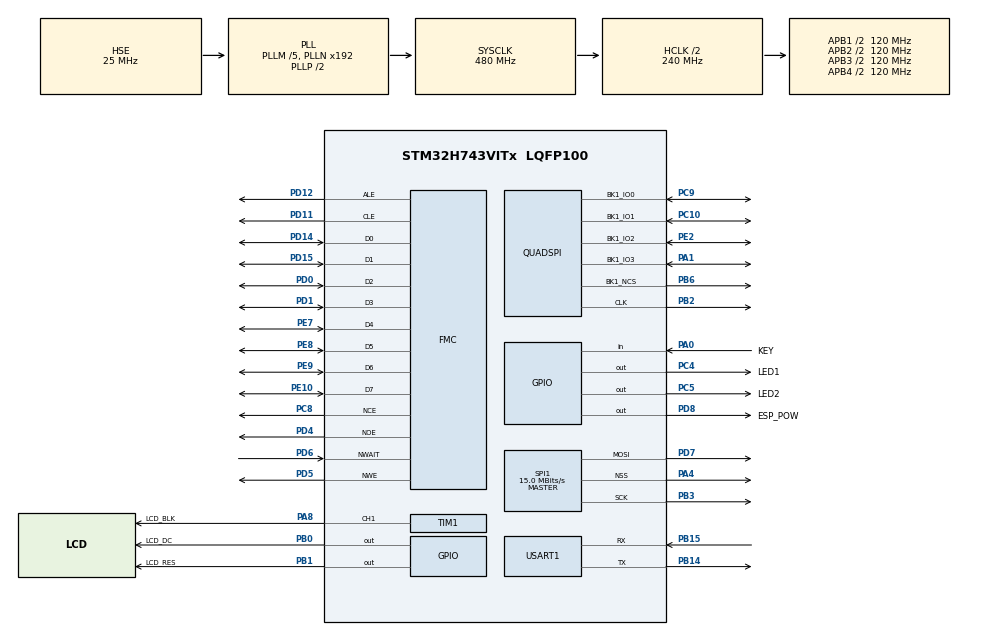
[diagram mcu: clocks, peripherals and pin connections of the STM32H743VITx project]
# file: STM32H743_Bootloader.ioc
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CRC.DefaultInitValueUse=DEFAULT_INIT_VALUE_ENABLE
CRC.DefaultPolynomialUse=DEFAULT_POLYNOMIAL_ENABLE
CRC.InputDataFormat=CRC_INPUTDATA_FORMAT_WORDS
CRC.InputDataInversionMode=CRC_INPUTDATA_INVERSION_NONE
CRC.OutputDataInversionMode=CRC_OUTPUTDATA_INVERSION_DISABLE
Dma.Request0=SPI1_TX
Dma.Request1=USART1_RX
Dma.Request2=USART1_TX
Dma.SPI1_TX.0.Direction=DMA_MEMORY_TO_PERIPH
Dma.SPI1_TX.0.EventEnable=DISABLE
Dma.SPI1_TX.0.FIFOMode=DMA_FIFOMODE_DISABLE
Dma.SPI1_TX.0.Instance=DMA1_Stream0
Dma.SPI1_TX.0.MemDataAlignment=DMA_MDATAALIGN_BYTE
Dma.SPI1_TX.0.MemInc=DMA_MINC_ENABLE
Dma.SPI1_TX.0.Mode=DMA_NORMAL
Dma.SPI1_TX.0.PeriphDataAlignment=DMA_PDATAALIGN_BYTE
Dma.SPI1_TX.0.PeriphInc=DMA_PINC_DISABLE
Dma.SPI1_TX.0.Polarity=HAL_DMAMUX_REQ_GEN_RISING
Dma.SPI1_TX.0.Priority=DMA_PRIORITY_VERY_HIGH
Dma.SPI1_TX.0.RequestNumber=1
Dma.SPI1_TX.0.SignalID=NONE
Dma.SPI1_TX.0.SyncEnable=DISABLE
Dma.SPI1_TX.0.SyncPolarity=HAL_DMAMUX_SYNC_NO_EVENT
Dma.SPI1_TX.0.SyncRequestNumber=1
Dma.SPI1_TX.0.SyncSignalID=NONE
Dma.USART1_RX.1.Direction=DMA_PERIPH_TO_MEMORY
Dma.USART1_RX.1.EventEnable=DISABLE
Dma.USART1_RX.1.FIFOMode=DMA_FIFOMODE_DISABLE
Dma.USART1_RX.1.Instance=DMA1_Stream1
Dma.USART1_RX.1.MemDataAlignment=DMA_MDATAALIGN_BYTE
Dma.USART1_RX.1.MemInc=DMA_MINC_ENABLE
Dma.USART1_RX.1.Mode=DMA_CIRCULAR
Dma.USART1_RX.1.PeriphDataAlignment=DMA_PDATAALIGN_BYTE
Dma.USART1_RX.1.PeriphInc=DMA_PINC_DISABLE
Dma.USART1_RX.1.Polarity=HAL_DMAMUX_REQ_GEN_RISING
Dma.USART1_RX.1.Priority=DMA_PRIORITY_VERY_HIGH
Dma.USART1_RX.1.RequestNumber=1
Dma.USART1_RX.1.SignalID=NONE
Dma.USART1_RX.1.SyncEnable=DISABLE
Dma.USART1_RX.1.SyncPolarity=HAL_DMAMUX_SYNC_NO_EVENT
Dma.USART1_RX.1.SyncRequestNumber=1
Dma.USART1_RX.1.SyncSignalID=NONE
Dma.USART1_TX.2.Direction=DMA_MEMORY_TO_PERIPH
Dma.USART1_TX.2.EventEnable=DISABLE
Dma.USART1_TX.2.FIFOMode=DMA_FIFOMODE_DISABLE
Dma.USART1_TX.2.Instance=DMA1_Stream2
Dma.USART1_TX.2.MemDataAlignment=DMA_MDATAALIGN_BYTE
Dma.USART1_TX.2.MemInc=DMA_MINC_ENABLE
Dma.USART1_TX.2.Mode=DMA_NORMAL
Dma.USART1_TX.2.PeriphDataAlignment=DMA_PDATAALIGN_BYTE
Dma.USART1_TX.2.PeriphInc=DMA_PINC_DISABLE
Dma.USART1_TX.2.Polarity=HAL_DMAMUX_REQ_GEN_RISING
Dma.USART1_TX.2.Priority=DMA_PRIORITY_VERY_HIGH
Dma.USART1_TX.2.RequestNumber=1
Dma.USART1_TX.2.SignalID=NONE
Dma.USART1_TX.2.SyncEnable=DISABLE
Dma.USART1_TX.2.SyncPolarity=HAL_DMAMUX_SYNC_NO_EVENT
Dma.USART1_TX.2.SyncRequestNumber=1
Dma.USART1_TX.2.SyncSignalID=NONE
FMC.AttributeSpaceHiZSetupTime1=2
FMC.AttributeSpaceHoldSetupTime1=3
FMC.AttributeSpaceSetupTime1=2
FMC.AttributeSpaceWaitSetupTime1=4
FMC.CommonSpaceHiZSetupTime1=2
FMC.CommonSpaceHoldSetupTime1=3
FMC.CommonSpaceSetupTime1=2
FMC.CommonSpaceWaitSetupTime1=4
FMC.ECCPageSize1=FMC_NAND_ECC_PAGE_SIZE_2048BYTE
FMC.NandBlockNbr1=2048
FMC.NandBlockSize1=2048*64
FMC.NandPageSize1=2048+64
FMC.NandPlaneNbr1=2
FMC.NandPlaneSize1=4096
FMC.NandSpareAreaSize1=64
Mcu.Family=STM32H7
Mcu.Name=STM32H743VITx
Mcu.Package=LQFP100
Mdma.MDMA_Channel1.QUADSPI_FIFO_TH.0.BlockCount=0
Mdma.MDMA_Channel1.QUADSPI_FIFO_TH.0.BlockDataLength=0
Mdma.MDMA_Channel1.QUADSPI_FIFO_TH.0.BufferTransferLength=128
Mdma.MDMA_Channel1.QUADSPI_FIFO_TH.0.CircularMode=MDMA_LINEAR_LIST
Mdma.MDMA_Channel1.QUADSPI_FIFO_TH.0.DataAlignment=MDMA_DATAALIGN_PACKENABLE
Mdma.MDMA_Channel1.QUADSPI_FIFO_TH.0.DestBlockAddressOffset=0
Mdma.MDMA_Channel1.QUADSPI_FIFO_TH.0.DestBurst=MDMA_DEST_BURST_SINGLE
Mdma.MDMA_Channel1.QUADSPI_FIFO_TH.0.DestDataSize=MDMA_DEST_DATASIZE_BYTE
Mdma.MDMA_Channel1.QUADSPI_FIFO_TH.0.DestinationInc=MDMA_DEST_INC_DISABLE
Mdma.MDMA_Channel1.QUADSPI_FIFO_TH.0.DstAddress=0
Mdma.MDMA_Channel1.QUADSPI_FIFO_TH.0.Endianness=MDMA_LITTLE_ENDIANNESS_PRESERVE
Mdma.MDMA_Channel1.QUADSPI_FIFO_TH.0.Instance=MDMA_Channel1
Mdma.MDMA_Channel1.QUADSPI_FIFO_TH.0.MaskAddress=0
Mdma.MDMA_Channel1.QUADSPI_FIFO_TH.0.MaskData=0
Mdma.MDMA_Channel1.QUADSPI_FIFO_TH.0.Priority=MDMA_PRIORITY_VERY_HIGH
Mdma.MDMA_Channel1.QUADSPI_FIFO_TH.0.Rank=First
Mdma.MDMA_Channel1.QUADSPI_FIFO_TH.0.SourceBlockAddressOffset=0
Mdma.MDMA_Channel1.QUADSPI_FIFO_TH.0.SourceBurst=MDMA_SOURCE_BURST_SINGLE
Mdma.MDMA_Channel1.QUADSPI_FIFO_TH.0.SourceDataSize=MDMA_SRC_DATASIZE_BYTE
Mdma.MDMA_Channel1.QUADSPI_FIFO_TH.0.SourceInc=MDMA_SRC_INC_BYTE
Mdma.MDMA_Channel1.QUADSPI_FIFO_TH.0.SrcAddress=0
Mdma.MDMA_Channel1.QUADSPI_FIFO_TH.0.TransferTriggerMode=MDMA_BUFFER_TRANSFER
Mdma.MDMA_Channel1.Request0=QUADSPI_FIFO_TH
Mdma.MDMA_Channel1.RequestsNb=1
Mdma.RequestSet0=MDMA_Channel1
Mdma.RequestSetsNb=1
NVIC.DMA1_Stream0_IRQn=true\:1\:0\:true\:false\:true\:false\:true\:true
NVIC.DMA1_Stream1_IRQn=true\:0\:0\:false\:false\:true\:false\:true\:true
NVIC.DMA1_Stream2_IRQn=true\:0\:0\:false\:false\:true\:false\:true\:true
NVIC.MDMA_IRQn=true\:0\:0\:false\:false\:true\:false\:true\:true
NVIC.PriorityGroup=NVIC_PRIORITYGROUP_4
NVIC.QUADSPI_IRQn=true\:0\:0\:true\:false\:true\:true\:true\:true
NVIC.SPI1_IRQn=true\:0\:0\:true\:false\:true\:true\:true\:true
NVIC.TIM8_BRK_TIM12_IRQn=true\:0\:0\:false\:false\:true\:true\:true\:true
NVIC.TIM8_TRG_COM_TIM14_IRQn=true\:5\:0\:true\:false\:true\:true\:true\:true
NVIC.TIM8_UP_TIM13_IRQn=true\:0\:0\:false\:false\:true\:true\:true\:true
NVIC.USART1_IRQn=true\:0\:0\:false\:false\:true\:true\:true\:true
PA0.GPIO_Label=KEY
PA0.GPIO_PuPd=GPIO_PULLDOWN
PA0.Signal=GPIO_Input
PA1.GPIO_Speed=GPIO_SPEED_FREQ_VERY_HIGH
PA1.Mode=Single Bank 1
PA1.Signal=QUADSPI_BK1_IO3
PA13\ (JTMS/SWDIO).Mode=Serial_Wire
PA13\ (JTMS/SWDIO).Signal=DEBUG_JTMS-SWDIO
PA14\ (JTCK/SWCLK).Mode=Serial_Wire
PA14\ (JTCK/SWCLK).Signal=DEBUG_JTCK-SWCLK
PA4.GPIO_Speed=GPIO_SPEED_FREQ_VERY_HIGH
PA4.Mode=NSS_Signal_Hard_Output
PA4.Signal=SPI1_NSS
PA8.GPIO_Label=LCD_BLK
PA8.Signal=S_TIM1_CH1
PB0.GPIO_Label=LCD_DC
PB0.GPIO_Speed=GPIO_SPEED_FREQ_VERY_HIGH
PB0.Signal=GPIO_Output
PB1.GPIO_Label=LCD_RES
PB1.GPIO_Speed=GPIO_SPEED_FREQ_VERY_HIGH
PB1.Signal=GPIO_Output
PB14.Mode=Asynchronous
PB14.Signal=USART1_TX
PB15.GPIO_PuPd=GPIO_PULLUP
PB15.Mode=Asynchronous
PB15.Signal=USART1_RX
PB2.GPIO_Speed=GPIO_SPEED_FREQ_VERY_HIGH
PB2.Mode=Single Bank 1
PB2.Signal=QUADSPI_CLK
PB3\ (JTDO/TRACESWO).GPIO_Speed=GPIO_SPEED_FREQ_VERY_HIGH
PB3\ (JTDO/TRACESWO).Mode=TX_Only_Simplex_Unidirect_Master
PB3\ (JTDO/TRACESWO).Signal=SPI1_SCK
PB6.GPIO_Speed=GPIO_SPEED_FREQ_VERY_HIGH
PB6.Mode=Single Bank 1
PB6.Signal=QUADSPI_BK1_NCS
PC10.GPIO_Speed=GPIO_SPEED_FREQ_VERY_HIGH
PC10.Mode=Single Bank 1
PC10.Signal=QUADSPI_BK1_IO1
PC14-OSC32_IN\ (OSC32_IN).Mode=LSE-External-Oscillator
PC14-OSC32_IN\ (OSC32_IN).Signal=RCC_OSC32_IN
PC15-OSC32_OUT\ (OSC32_OUT).Mode=LSE-External-Oscillator
PC15-OSC32_OUT\ (OSC32_OUT).Signal=RCC_OSC32_OUT
PC4.GPIO_Label=LED1
PC4.GPIO_PuPd=GPIO_PULLUP
PC4.PinState=GPIO_PIN_SET
PC4.Signal=GPIO_Output
PC5.GPIO_Label=LED2
PC5.GPIO_PuPd=GPIO_PULLUP
PC5.PinState=GPIO_PIN_SET
PC5.Signal=GPIO_Output
PC8.Mode=NandChipSelect3_1
PC8.Signal=FMC_NCE
PC9.GPIO_PuPd=GPIO_NOPULL
PC9.GPIO_Speed=GPIO_SPEED_FREQ_VERY_HIGH
PC9.Mode=Single Bank 1
PC9.Signal=QUADSPI_BK1_IO0
PD0.Signal=FMC_D2_DA2
PD1.Signal=FMC_D3_DA3
PD11.Signal=FMC_A16_CLE
PD12.Signal=FMC_A17_ALE
PD14.Signal=FMC_D0_DA0
PD15.Signal=FMC_D1_DA1
PD4.Signal=FMC_NOE
PD5.Signal=FMC_NWE
PD6.GPIO_PuPd=GPIO_PULLUP
PD6.Signal=FMC_NWAIT
PD7.GPIO_Speed=GPIO_SPEED_FREQ_VERY_HIGH
PD7.Mode=TX_Only_Simplex_Unidirect_Master
PD7.Signal=SPI1_MOSI
PD8.GPIO_Label=ESP_POW
PD8.GPIO_PuPd=GPIO_PULLDOWN
PD8.Signal=GPIO_Output
PE10.Signal=FMC_D7_DA7
PE2.GPIO_Speed=GPIO_SPEED_FREQ_VERY_HIGH
PE2.Mode=Single Bank 1
PE2.Signal=QUADSPI_BK1_IO2
PE7.Signal=FMC_D4_DA4
PE8.Signal=FMC_D5_DA5
PE9.Signal=FMC_D6_DA6
PH0-OSC_IN\ (PH0).Mode=HSE-External-Oscillator
PH0-OSC_IN\ (PH0).Signal=RCC_OSC_IN
PH1-OSC_OUT\ (PH1).Mode=HSE-External-Oscillator
PH1-OSC_OUT\ (PH1).Signal=RCC_OSC_OUT
ProjectManager.HeapSize=0x200
ProjectManager.StackSize=0x800
ProjectManager.TargetToolchain=MDK-ARM V5.32
QUADSPI.ChipSelectHighTime=QSPI_CS_HIGH_TIME_2_CYCLE
QUADSPI.ClockPrescaler=2-1
QUADSPI.FifoThreshold=32
QUADSPI.FlashSize=23+1
QUADSPI.SampleShifting=QSPI_SAMPLE_SHIFTING_HALFCYCLE
RCC.ADCFreq_Value=120000000
RCC.APB1Freq_Value=120000000
RCC.APB2Freq_Value=120000000
RCC.APB3Freq_Value=120000000
RCC.APB4Freq_Value=120000000
RCC.CortexFreq_Value=480000000
RCC.D1PPRE=RCC_APB3_DIV2
RCC.D2PPRE1=RCC_APB1_DIV2
RCC.D2PPRE2=RCC_APB2_DIV2
RCC.D3PPRE=RCC_APB4_DIV2
RCC.DIVM1=5
RCC.DIVM2=5
RCC.DIVM3=25
RCC.DIVN1=192
RCC.DIVN2=48
RCC.DIVN3=240
RCC.DIVQ1=5
RCC.DIVQ3=5
RCC.DIVR1=5
RCC.HCLKFreq_Value=240000000
RCC.HPRE=RCC_HCLK_DIV2
RCC.PLL2FRACN=0
RCC.PLL3FRACN=0
RCC.PLLFRACN=0
RCC.PLLSourceVirtual=RCC_PLLSOURCE_HSE
RCC.QSPICLockSelection=RCC_QSPICLKSOURCE_PLL
RCC.SPI123CLockSelection=RCC_SPI123CLKSOURCE_PLL2
RCC.SYSCLKFreq_VALUE=480000000
RCC.SYSCLKSource=RCC_SYSCLKSOURCE_PLLCLK
RCC.USBCLockSelection=RCC_USBCLKSOURCE_PLL3
RCC.USBFreq_Value=48000000
SH.FMC_A16_CLE.0=FMC_CLE,8b-dmux1
SH.FMC_A17_ALE.0=FMC_ALE,8b-dmux1
SH.FMC_D0_DA0.0=FMC_D0,8b-dmux1
SH.FMC_D1_DA1.0=FMC_D1,8b-dmux1
SH.FMC_D2_DA2.0=FMC_D2,8b-dmux1
SH.FMC_D3_DA3.0=FMC_D3,8b-dmux1
SH.FMC_D4_DA4.0=FMC_D4,8b-dmux1
SH.FMC_D5_DA5.0=FMC_D5,8b-dmux1
SH.FMC_D6_DA6.0=FMC_D6,8b-dmux1
SH.FMC_D7_DA7.0=FMC_D7,8b-dmux1
SH.FMC_NOE.0=FMC_NOE,8b-dmux1
SH.FMC_NWAIT.0=FMC_NWAIT,Wait1
SH.FMC_NWE.0=FMC_NWE,8b-dmux1
SH.S_TIM1_CH1.0=TIM1_CH1,PWM Generation1 CH1
SPI1.BaudRatePrescaler=SPI_BAUDRATEPRESCALER_8
SPI1.CalculateBaudRate=15.0 MBits/s
SPI1.DataSize=SPI_DATASIZE_8BIT
SPI1.Direction=SPI_DIRECTION_2LINES_TXONLY
SPI1.Mode=SPI_MODE_MASTER
SPI1.VirtualNSS=VM_NSSHARD
SPI1.VirtualType=VM_MASTER
TIM1.Channel-PWM\ Generation1\ CH1=TIM_CHANNEL_1
TIM1.Period=1000-1
TIM1.Prescaler=24-1
TIM12.Period=1000-1
TIM12.Prescaler=24000-1
TIM13.AutoReloadPreload=TIM_AUTORELOAD_PRELOAD_ENABLE
TIM13.Period=200-1
TIM13.Prescaler=6000-1
TIM14.AutoReloadPreload=TIM_AUTORELOAD_PRELOAD_ENABLE
TIM14.Period=2400-1
TIM14.Prescaler=5-1
USART1.AutoBaudRateEnableParam=UART_ADVFEATURE_AUTOBAUDRATE_DISABLE
USART1.VirtualMode-Asynchronous=VM_ASYNC
VP_CRC_VS_CRC.Mode=CRC_Activate
VP_TIM12_VS_ClockSourceINT.Mode=Internal
VP_TIM13_VS_ClockSourceINT.Mode=Enable_Timer
VP_TIM14_VS_ClockSourceINT.Mode=Enable_Timer
VP_TIM1_VS_ClockSourceINT.Mode=Internal
board=custom

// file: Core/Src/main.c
/* USER CODE BEGIN Header */
/**
 ******************************************************************************
 * @file           : main.c
 * @brief          : Main program body
 ******************************************************************************
 * @attention
 *
 * Copyright (c) 2022 STMicroelectronics.
 * All rights reserved.
 *
 * This software is licensed under terms that can be found in the LICENSE file
 * in the root directory of this software component.
 * If no LICENSE file comes with this software, it is provided AS-IS.
 *
 ******************************************************************************
 */
/* USER CODE END Header */
#include "main.h"
#include "crc.h"
#include "dma.h"
#include "mdma.h"
#include "quadspi.h"
#include "spi.h"
#include "tim.h"
#include "usart.h"
#include "gpio.h"
#include "fmc.h"

/* USER CODE BEGIN Includes */
#include "IAP.h"
#include "app_uart.h"
#include "Bsp_w25qxx.h"
#include "Bsp_ESP8266.H"
#include "network.h"
#include "User_config.h"
/* USER CODE END Includes */

/* USER CODE BEGIN PV */

/* MDK AC5 */

/* USER CODE END PV */

void SystemClock_Config(void);

int main(void)
{
  /* USER CODE BEGIN 1 */

  //User_App_Jump_Init();

  /* USER CODE END 1 */

  /* MCU Configuration--------------------------------------------------------*/

  /* Reset of all peripherals, Initializes the Flash interface and the Systick. */
  HAL_Init();

  /* Configure the system clock */
  SystemClock_Config();

  /* Initialize all configured peripherals */
  MX_GPIO_Init();
  MX_DMA_Init();
  MX_USART1_UART_Init();
  MX_QUADSPI_Init();
  MX_MDMA_Init();
  MX_SPI1_Init();
  MX_FMC_Init();
  MX_TIM14_Init();
  MX_TIM1_Init();
  MX_CRC_Init();
  MX_TIM13_Init();
  MX_TIM12_Init();
  /* USER CODE BEGIN 2 */

  HAL_TIM_PWM_Start(&htim1 , TIM_CHANNEL_1);

  QSPI_W25Qx_Init();

  User_Config_Init();

	User_Networt_Apuconfig();
	while(1);

  /*不需要在Bootloader中查询更新信息话*/
  if(System_Config.Inquire == 0 && System_Config.Error == 0)
  {
    /*校验当前固件*/
    if(User_App_MCU_Flash_CRC(System_Config.Info.Bin_Size) == 0)    //CRC正确 则跳转
    {
      /*跳转*/
      User_App_Jump_Start();
    }

    /*校验错误 则从外置Flash拉取备份文件*/

    /*擦除MCU Flash*/
    User_App_MCU_Flash_Erase(System_Config.Info.Bin_Size);

    /*还原MCU Flash内容*/
    User_App_Flash_Copy();

    /*再次校验*/
    if(User_App_MCU_Flash_CRC(System_Config.Info.Bin_Size) == 0)
    {
      /*跳转*/
      User_App_Jump_Start();
    }

    /*设置极端错误标志*/
    System_Config.Error = 1;

    User_Config_Set(System_Config);
  }

  /*若发生极端错误 或需要开机检查更新 */

  Bsp_ESP8266_Power(1);

//User_Network_Connect_AP((uint8_t *)"Moujiti" , (uint8_t *)"moujiti7222");

  Bsp_ESP8266_RST();

  while(Bsp_ESP8266_Config("AT+CIPSTATUS\r\n", 15, "STATUS:2", NULL, 200, 5) != 0);

  /*建立TCP通信*/
  User_Network_Connect_Tcp(System_Config.Info.IP , System_Config.Info.Port , System_Config.Info.SSLEN);

  Info_Str Temp_Info;

  /*获取云端版本信息*/
  User_Network_Get_Info(System_Config.Info.IP ,  System_Config.Info.Info_Path , System_Config.Info.SSLEN , &Temp_Info);

  /*版本号相等 则无需更新*/
  if(strcmp((char *)Temp_Info.Version  , (char *)System_Config.Info.Version) == 0 && System_Config.Error == 0)
  {
    User_App_Jump_Start();
    /*正常情况下后面的不会执行了*/
  }

  /*需要更新*/
  System_Config.Updata = 1;

  /*更新除版本信息之外的信息*/
  uint8_t Version[10] = {0};
  memcpy(Version , System_Config.Info.Version , sizeof(System_Config.Info.Version));
  System_Config.Info = Temp_Info;
  memcpy(System_Config.Info.Version , Version , sizeof(System_Config.Info.Version));

  /*保存配置写入到外置Flash*/
  User_Config_Set(System_Config);

  if(System_Config.Error != 1)
  {
    /*备份至片外Flash*/
    User_App_MCU_Flash_Copy();
  }

  /*擦除MCU Flash*/
  User_App_MCU_Flash_Erase(System_Config.Info.Bin_Size);

  Bsp_ESP8266_RST();
  while(Bsp_ESP8266_Config("AT+CIPSTATUS\r\n", 15, "STATUS:2", NULL, 200, 5) != 0);

  /*建立TCP通信*/
  User_Network_Connect_Tcp(System_Config.Info.IP , System_Config.Info.Port , System_Config.Info.SSLEN);

  /*下载APP到MCU Flash*/
  User_Network_Down_Bin(System_Config.Info.IP ,  System_Config.Info.Bin_Path , System_Config.Info.SSLEN);

  /*校验MCU Flash APP 正确性 */
  if(User_App_MCU_Flash_CRC(System_Config.Info.Bin_Size) == 1)    //校验错误
  {
    /*擦除MCU Flash*/
    User_App_MCU_Flash_Erase(System_Config.Info.Bin_Size);

    /*还原MCU Flash内容*/
    User_App_Flash_Copy();

    /*跳转*/
    User_App_Jump_Start();
  }

  /*更新Config*/
  memcpy(System_Config.Info.Version , Temp_Info.Version , sizeof(Temp_Info.Version));

  System_Config.Inquire = 0;
  System_Config.Error = 0;
  System_Config.Updata = 0;

  User_Config_Set(System_Config);

  /*跳转*/
  User_App_Jump_Start();

  /*正常情况不会运行到后面去*/

  /* USER CODE END 2 */

  /* Infinite loop */
  /* USER CODE BEGIN WHILE */
  while (1)
  {

    // app_loop();

    /* USER CODE END WHILE */

  }
}

void SystemClock_Config(void)
{
  RCC_OscInitTypeDef RCC_OscInitStruct = {0};
  RCC_ClkInitTypeDef RCC_ClkInitStruct = {0};

  /** Supply configuration update enable
  */
  HAL_PWREx_ConfigSupply(PWR_LDO_SUPPLY);

  /** Configure the main internal regulator output voltage
  */
  __HAL_PWR_VOLTAGESCALING_CONFIG(PWR_REGULATOR_VOLTAGE_SCALE0);

  while(!__HAL_PWR_GET_FLAG(PWR_FLAG_VOSRDY)) {}

  /** Macro to configure the PLL clock source
  */
  __HAL_RCC_PLL_PLLSOURCE_CONFIG(RCC_PLLSOURCE_HSE);

  /** Initializes the RCC Oscillators according to the specified parameters
  * in the RCC_OscInitTypeDef structure.
  */
  RCC_OscInitStruct.OscillatorType = RCC_OSCILLATORTYPE_HSE;
  RCC_OscInitStruct.HSEState = RCC_HSE_ON;
  RCC_OscInitStruct.PLL.PLLState = RCC_PLL_ON;
  RCC_OscInitStruct.PLL.PLLSource = RCC_PLLSOURCE_HSE;
  RCC_OscInitStruct.PLL.PLLM = 5;
  RCC_OscInitStruct.PLL.PLLN = 192;
  RCC_OscInitStruct.PLL.PLLP = 2;
  RCC_OscInitStruct.PLL.PLLQ = 5;
  RCC_OscInitStruct.PLL.PLLR = 5;
  RCC_OscInitStruct.PLL.PLLRGE = RCC_PLL1VCIRANGE_2;
  RCC_OscInitStruct.PLL.PLLVCOSEL = RCC_PLL1VCOWIDE;
  RCC_OscInitStruct.PLL.PLLFRACN = 0;
  if (HAL_RCC_OscConfig(&RCC_OscInitStruct) != HAL_OK)
  {
    Error_Handler();
  }

  /** Initializes the CPU, AHB and APB buses clocks
  */
  RCC_ClkInitStruct.ClockType = RCC_CLOCKTYPE_HCLK|RCC_CLOCKTYPE_SYSCLK
                              |RCC_CLOCKTYPE_PCLK1|RCC_CLOCKTYPE_PCLK2
                              |RCC_CLOCKTYPE_D3PCLK1|RCC_CLOCKTYPE_D1PCLK1;
  RCC_ClkInitStruct.SYSCLKSource = RCC_SYSCLKSOURCE_PLLCLK;
  RCC_ClkInitStruct.SYSCLKDivider = RCC_SYSCLK_DIV1;
  RCC_ClkInitStruct.AHBCLKDivider = RCC_HCLK_DIV2;
  RCC_ClkInitStruct.APB3CLKDivider = RCC_APB3_DIV2;
  RCC_ClkInitStruct.APB1CLKDivider = RCC_APB1_DIV2;
  RCC_ClkInitStruct.APB2CLKDivider = RCC_APB2_DIV2;
  RCC_ClkInitStruct.APB4CLKDivider = RCC_APB4_DIV2;

  if (HAL_RCC_ClockConfig(&RCC_ClkInitStruct, FLASH_LATENCY_4) != HAL_OK)
  {
    Error_Handler();
  }
}

/* USER CODE BEGIN 4 */
/**
 * @brief 定时器中断回调函�?
 * @param {TIM_HandleTypeDef} *htim
 * @return {*}
 */

void HAL_TIM_PeriodElapsedCallback(TIM_HandleTypeDef *htim)
{
  if (htim->Instance == TIM13)
  {
    User_UART_Timer();
    //HAL_GPIO_TogglePin(LED1_GPIO_Port , LED1_Pin );
  }
	else if(htim->Instance == TIM12)
	{
    //User_UART_TX_Timer();
//		Bsp_ESP8266_Timer();
    User_Networt_Timer();
  }
}
/* USER CODE END 4 */

void Error_Handler(void)
{
  __disable_irq();
  while (1)
  {
  }
}
